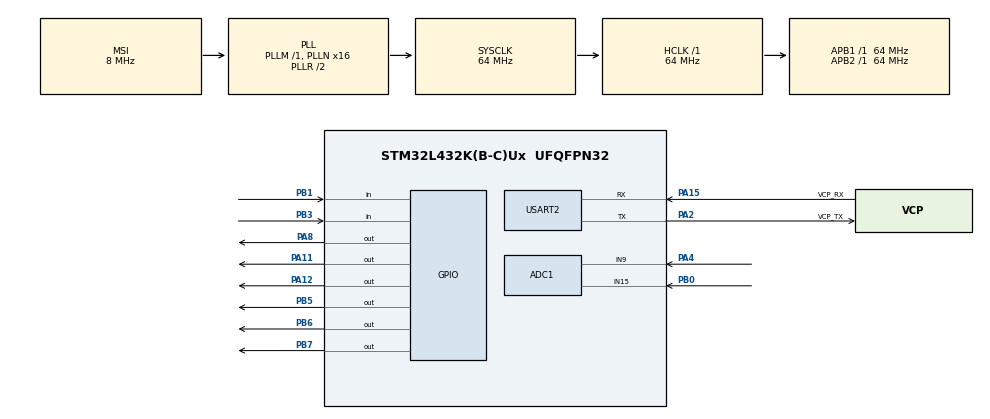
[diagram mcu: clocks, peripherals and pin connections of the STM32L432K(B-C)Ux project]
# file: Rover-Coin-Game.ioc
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ADC1.Channel-0\#ChannelRegularConversion=ADC_CHANNEL_9
ADC1.Channel-1\#ChannelRegularConversion=ADC_CHANNEL_15
ADC1.ClockPrescaler=ADC_CLOCK_ASYNC_DIV1
ADC1.DiscontinuousConvMode=DISABLE
ADC1.EOCSelection=ADC_EOC_SEQ_CONV
ADC1.NbrOfConversion=2
ADC1.NbrOfConversionFlag=1
ADC1.OffsetNumber-0\#ChannelRegularConversion=ADC_OFFSET_NONE
ADC1.OffsetNumber-1\#ChannelRegularConversion=ADC_OFFSET_NONE
ADC1.Overrun=ADC_OVR_DATA_PRESERVED
ADC1.Rank-0\#ChannelRegularConversion=1
ADC1.Rank-1\#ChannelRegularConversion=2
ADC1.SamplingTime-0\#ChannelRegularConversion=ADC_SAMPLETIME_47CYCLES_5
ADC1.SamplingTime-1\#ChannelRegularConversion=ADC_SAMPLETIME_47CYCLES_5
ADC1.master=1
Dma.ADC1.0.Direction=DMA_PERIPH_TO_MEMORY
Dma.ADC1.0.Instance=DMA1_Channel1
Dma.ADC1.0.MemDataAlignment=DMA_MDATAALIGN_WORD
Dma.ADC1.0.MemInc=DMA_MINC_ENABLE
Dma.ADC1.0.Mode=DMA_NORMAL
Dma.ADC1.0.PeriphDataAlignment=DMA_PDATAALIGN_HALFWORD
Dma.ADC1.0.PeriphInc=DMA_PINC_DISABLE
Dma.ADC1.0.Priority=DMA_PRIORITY_LOW
Dma.Request0=ADC1
Mcu.Family=STM32L4
Mcu.Name=STM32L432K(B-C)Ux
Mcu.Package=UFQFPN32
NVIC.DMA1_Channel1_IRQn=true\:0\:0\:false\:false\:true\:false\:true\:true
NVIC.PriorityGroup=NVIC_PRIORITYGROUP_4
PA0.GPIO_Label=MCO [High speed clock in]
PA0.Mode=HSE-External-Clock-Source-for-LittleOrca
PA0.Signal=RCC_CK_IN
PA11.Signal=GPIO_Output
PA12.Signal=GPIO_Output
PA13\ (JTMS-SWDIO).GPIO_Label=SWDIO
PA13\ (JTMS-SWDIO).Mode=Serial_Wire
PA13\ (JTMS-SWDIO).Signal=SYS_JTMS-SWDIO
PA14\ (JTCK-SWCLK).GPIO_Label=SWCLK
PA14\ (JTCK-SWCLK).Mode=Serial_Wire
PA14\ (JTCK-SWCLK).Signal=SYS_JTCK-SWCLK
PA15\ (JTDI).GPIO_Label=VCP_RX
PA15\ (JTDI).Mode=Asynchronous
PA15\ (JTDI).Signal=USART2_RX
PA2.GPIO_Label=VCP_TX
PA2.Mode=Asynchronous
PA2.Signal=USART2_TX
PA4.Signal=ADCx_IN9
PA8.Signal=GPIO_Output
PB0.Signal=ADCx_IN15
PB1.Signal=GPIO_Input
PB3\ (JTDO-TRACESWO).Signal=GPIO_Input
PB5.Signal=GPIO_Output
PB6.Signal=GPIO_Output
PB7.Signal=GPIO_Output
PC14-OSC32_IN\ (PC14).Mode=LSE-External-Oscillator
PC14-OSC32_IN\ (PC14).Signal=RCC_OSC32_IN
PC15-OSC32_OUT\ (PC15).Mode=LSE-External-Oscillator
PC15-OSC32_OUT\ (PC15).Signal=RCC_OSC32_OUT
ProjectManager.HeapSize=0x200
ProjectManager.StackSize=0x400
ProjectManager.TargetToolchain=EWARM V8.32
RCC.ADCFreq_Value=32000000
RCC.AHBFreq_Value=64000000
RCC.APB1Freq_Value=64000000
RCC.APB1TimFreq_Value=64000000
RCC.APB2Freq_Value=64000000
RCC.APB2TimFreq_Value=64000000
RCC.CortexFreq_Value=64000000
RCC.HCLKFreq_Value=64000000
RCC.HSE_VALUE=8000000
RCC.HSI16_VALUE=16000000
RCC.HSI48_VALUE=48000000
RCC.HSI_VALUE=16000000
RCC.MSIClockRange=RCC_MSIRANGE_7
RCC.MSI_VALUE=8000000
RCC.PLLMUL=RCC_PLLMUL_4
RCC.PLLN=16
RCC.SYSCLKFreq_VALUE=64000000
RCC.SYSCLKSource=RCC_SYSCLKSOURCE_PLLCLK
RCC.USBFreq_Value=32000000
RCC.VCOOutputFreq_Value=128000000
SH.ADCx_IN15.0=ADC1_IN15,IN15-Single-Ended
SH.ADCx_IN9.0=ADC1_IN9,IN9-Single-Ended
USART2.VirtualMode-Asynchronous=VM_ASYNC
board=NUCLEO-L432KC

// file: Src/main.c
/* USER CODE BEGIN Header */
/**
  ******************************************************************************
  * @file           : main.c
  * @brief          : Main program body
  ******************************************************************************
  * @attention
  *
  * <h2><center>&copy; Copyright (c) 2023 STMicroelectronics.
  * All rights reserved.</center></h2>
  *
  * This software component is licensed by ST under BSD 3-Clause license,
  * the "License"; You may not use this file except in compliance with the
  * License. You may obtain a copy of the License at:
  *                        opensource.org/licenses/BSD-3-Clause
  *
  ******************************************************************************
  */
/* USER CODE END Header */
#include "main.h"

/* USER CODE BEGIN Includes */
#include "displayST7735.h"
#include "rover_game.h"
#include "joystick.h"
#include "rover_math.h"
#include "EEPROM.h"
#include "stm32l4xx_spi.h"
/* USER CODE END Includes */

ADC_HandleTypeDef hadc1;
DMA_HandleTypeDef hdma_adc1;

UART_HandleTypeDef huart2;

/* USER CODE BEGIN PV */
//SPI
SPI_HandleData spi1Handle = {GPIOA, 1, 7, 5, 5, 1};

//Timing Flags
extern uint8_t flag3MsPassed;
extern uint8_t flag10MsPassed;
extern uint8_t flag25MsPassed;
extern uint8_t flag100MsPassed;
extern uint8_t flag500MsPassed;
extern uint8_t flag1000MsPassed;

uint8_t ledStatus = false;
//Random Num
uint32_t ranNum = 0;

//Display Testing

uint8_t setDisplay = false;

uint8_t colStart = 0;
uint8_t colEnd = 127;
uint8_t rowStart = 0;
uint8_t rowEnd = 159;

uint8_t prevPlace[2] = {0,0};
uint8_t width = 128;
uint8_t height = 160;
uint32_t rgbColor32 = 0xFCFCFC;

uint16_t angle = 0;
uint16_t objType = 0;

uint8_t line1[10] = {0,0,10,160,76,2,5,1,56,19};

uint8_t rgbColor[3] = {0,0,0};
extern uint32_t carRectColor[144];
extern uint32_t spiderRectColor[150];
//Test timing
extern uint16_t timeDisplayMS;
extern uint8_t runningTrue;
uint16_t timeDisp = 0;
uint32_t timeElasped[10];
uint8_t timeCntr = 0;
uint8_t iterCntr = 0;
uint32_t timeHolder = 0;

extern uint8_t adcFlag;

uint16_t joyAngle=0;
uint16_t joyMag=0;

//Display Objects:
Obj_Disp obj1 = {0,0,0,0,0,0,0,0,0,0,0,0,0,0};

/* USER CODE END PV */

void SystemClock_Config(void);
static void MX_GPIO_Init(void);
static void MX_DMA_Init(void);
static void MX_USART2_UART_Init(void);
static void MX_ADC1_Init(void);
/* USER CODE BEGIN PFP */

void initRNG();//RNG

void testObject(uint16_t angle, ObjectDispType objType);
uint32_t returnAnalog(uint8_t pin);

//Rover Game:
extern void RunRoverGame();

/* USER CODE END PFP */

int main(void)
{

  /* MCU Configuration--------------------------------------------------------*/

  /* Reset of all peripherals, Initializes the Flash interface and the Systick. */
  HAL_Init();

  /* Configure the system clock */
  SystemClock_Config();

  /* Initialize all configured peripherals */
  MX_GPIO_Init();
  MX_DMA_Init();
  MX_USART2_UART_Init();
  MX_ADC1_Init();
  /* USER CODE BEGIN 2 */
  //Init SPI
  Initialize_SPI(&spi1Handle);

  //Turn off reset pin
  HAL_GPIO_WritePin(RST_PIN,GPIO_PIN_SET);
  initDisplay();
  initADC();

  InitializeObjDisp(6);
  //Initialize RNG:
  initRNG();
  InitEEPROM();

  /* USER CODE END 2 */

  /* Infinite loop */
  /* USER CODE BEGIN WHILE */
  while (1){

    if(flag3MsPassed){
      flag3MsPassed=false;
      //Every 3 ms Task:

    }
    if(flag10MsPassed){
      flag10MsPassed=false;
      //Every 10 ms Task:
      timeHolder= HAL_GetTick();
      RunRoverGame();
      timeElasped[timeCntr] = MAX(HAL_GetTick()-timeHolder, timeElasped[timeCntr]);
      INCRE_CIRC_COUNTER(timeCntr, 10);

    }
    if(flag25MsPassed){

      flag25MsPassed=false;
      //Every 25 ms Task:
    }

    if(flag100MsPassed){
      flag100MsPassed=false;

      //Every 100 ms Task:

    }
    if(flag500MsPassed){
      flag500MsPassed=false;
      //Every 500 ms Task:

    }
    if(flag1000MsPassed){
      flag1000MsPassed=false;
      //Every 1000 ms Task:
    }

    if(setDisplay){
      timeDisplayMS=0;
      runningTrue=true;
      setDisplay=false;
      for(uint16_t i = 0; i<20;i++){

        //Test
      }
      timeDisp = timeDisplayMS;
      runningTrue=false;
    }
    /* USER CODE END WHILE */

  }
}

void SystemClock_Config(void)
{
  RCC_OscInitTypeDef RCC_OscInitStruct = {0};
  RCC_ClkInitTypeDef RCC_ClkInitStruct = {0};

  /** Configure the main internal regulator output voltage
  */
  if (HAL_PWREx_ControlVoltageScaling(PWR_REGULATOR_VOLTAGE_SCALE1) != HAL_OK)
  {
    Error_Handler();
  }

  /** Configure LSE Drive Capability
  */
  HAL_PWR_EnableBkUpAccess();
  __HAL_RCC_LSEDRIVE_CONFIG(RCC_LSEDRIVE_LOW);

  /** Initializes the RCC Oscillators according to the specified parameters
  * in the RCC_OscInitTypeDef structure.
  */
  RCC_OscInitStruct.OscillatorType = RCC_OSCILLATORTYPE_LSE|RCC_OSCILLATORTYPE_MSI;
  RCC_OscInitStruct.LSEState = RCC_LSE_ON;
  RCC_OscInitStruct.MSIState = RCC_MSI_ON;
  RCC_OscInitStruct.MSICalibrationValue = 0;
  RCC_OscInitStruct.MSIClockRange = RCC_MSIRANGE_7;
  RCC_OscInitStruct.PLL.PLLState = RCC_PLL_ON;
  RCC_OscInitStruct.PLL.PLLSource = RCC_PLLSOURCE_MSI;
  RCC_OscInitStruct.PLL.PLLM = 1;
  RCC_OscInitStruct.PLL.PLLN = 16;
  RCC_OscInitStruct.PLL.PLLP = RCC_PLLP_DIV7;
  RCC_OscInitStruct.PLL.PLLQ = RCC_PLLQ_DIV2;
  RCC_OscInitStruct.PLL.PLLR = RCC_PLLR_DIV2;
  if (HAL_RCC_OscConfig(&RCC_OscInitStruct) != HAL_OK)
  {
    Error_Handler();
  }

  /** Initializes the CPU, AHB and APB buses clocks
  */
  RCC_ClkInitStruct.ClockType = RCC_CLOCKTYPE_HCLK|RCC_CLOCKTYPE_SYSCLK
                              |RCC_CLOCKTYPE_PCLK1|RCC_CLOCKTYPE_PCLK2;
  RCC_ClkInitStruct.SYSCLKSource = RCC_SYSCLKSOURCE_PLLCLK;
  RCC_ClkInitStruct.AHBCLKDivider = RCC_SYSCLK_DIV1;
  RCC_ClkInitStruct.APB1CLKDivider = RCC_HCLK_DIV1;
  RCC_ClkInitStruct.APB2CLKDivider = RCC_HCLK_DIV1;

  if (HAL_RCC_ClockConfig(&RCC_ClkInitStruct, FLASH_LATENCY_3) != HAL_OK)
  {
    Error_Handler();
  }

  /** Enable MSI Auto calibration
  */
  HAL_RCCEx_EnableMSIPLLMode();
}

static void MX_ADC1_Init(void)
{

  ADC_ChannelConfTypeDef sConfig = {0};

  /** Common config
  */
  hadc1.Instance = ADC1;
  hadc1.Init.ClockPrescaler = ADC_CLOCK_ASYNC_DIV1;
  hadc1.Init.Resolution = ADC_RESOLUTION_12B;
  hadc1.Init.DataAlign = ADC_DATAALIGN_RIGHT;
  hadc1.Init.ScanConvMode = ADC_SCAN_ENABLE;
  hadc1.Init.EOCSelection = ADC_EOC_SEQ_CONV;
  hadc1.Init.LowPowerAutoWait = DISABLE;
  hadc1.Init.ContinuousConvMode = DISABLE;
  hadc1.Init.NbrOfConversion = 2;
  hadc1.Init.DiscontinuousConvMode = DISABLE;
  hadc1.Init.ExternalTrigConv = ADC_SOFTWARE_START;
  hadc1.Init.ExternalTrigConvEdge = ADC_EXTERNALTRIGCONVEDGE_NONE;
  hadc1.Init.DMAContinuousRequests = DISABLE;
  hadc1.Init.Overrun = ADC_OVR_DATA_PRESERVED;
  hadc1.Init.OversamplingMode = DISABLE;
  if (HAL_ADC_Init(&hadc1) != HAL_OK)
  {
    Error_Handler();
  }

  /** Configure Regular Channel
  */
  sConfig.Channel = ADC_CHANNEL_9;
  sConfig.Rank = ADC_REGULAR_RANK_1;
  sConfig.SamplingTime = ADC_SAMPLETIME_47CYCLES_5;
  sConfig.SingleDiff = ADC_SINGLE_ENDED;
  sConfig.OffsetNumber = ADC_OFFSET_NONE;
  sConfig.Offset = 0;
  if (HAL_ADC_ConfigChannel(&hadc1, &sConfig) != HAL_OK)
  {
    Error_Handler();
  }

  /** Configure Regular Channel
  */
  sConfig.Channel = ADC_CHANNEL_15;
  sConfig.Rank = ADC_REGULAR_RANK_2;
  if (HAL_ADC_ConfigChannel(&hadc1, &sConfig) != HAL_OK)
  {
    Error_Handler();
  }

}

static void MX_USART2_UART_Init(void)
{

  huart2.Instance = USART2;
  huart2.Init.BaudRate = 115200;
  huart2.Init.WordLength = UART_WORDLENGTH_8B;
  huart2.Init.StopBits = UART_STOPBITS_1;
  huart2.Init.Parity = UART_PARITY_NONE;
  huart2.Init.Mode = UART_MODE_TX_RX;
  huart2.Init.HwFlowCtl = UART_HWCONTROL_NONE;
  huart2.Init.OverSampling = UART_OVERSAMPLING_16;
  huart2.Init.OneBitSampling = UART_ONE_BIT_SAMPLE_DISABLE;
  huart2.AdvancedInit.AdvFeatureInit = UART_ADVFEATURE_NO_INIT;
  if (HAL_UART_Init(&huart2) != HAL_OK)
  {
    Error_Handler();
  }

}

static void MX_DMA_Init(void)
{

  /* DMA controller clock enable */
  __HAL_RCC_DMA1_CLK_ENABLE();

  /* DMA interrupt init */
  /* DMA1_Channel1_IRQn interrupt configuration */
  HAL_NVIC_SetPriority(DMA1_Channel1_IRQn, 0, 0);
  HAL_NVIC_EnableIRQ(DMA1_Channel1_IRQn);

}

static void MX_GPIO_Init(void)
{
  GPIO_InitTypeDef GPIO_InitStruct = {0};

  /* GPIO Ports Clock Enable */
  __HAL_RCC_GPIOC_CLK_ENABLE();
  __HAL_RCC_GPIOA_CLK_ENABLE();
  __HAL_RCC_GPIOB_CLK_ENABLE();

  /*Configure GPIO pin Output Level */
  HAL_GPIO_WritePin(GPIOA, GPIO_PIN_8|GPIO_PIN_11|GPIO_PIN_12, GPIO_PIN_RESET);

  /*Configure GPIO pin Output Level */
  HAL_GPIO_WritePin(GPIOB, GPIO_PIN_5|GPIO_PIN_6|GPIO_PIN_7, GPIO_PIN_RESET);

  /*Configure GPIO pins : PB1 PB3 */
  GPIO_InitStruct.Pin = GPIO_PIN_1|GPIO_PIN_3;
  GPIO_InitStruct.Mode = GPIO_MODE_INPUT;
  GPIO_InitStruct.Pull = GPIO_NOPULL;
  HAL_GPIO_Init(GPIOB, &GPIO_InitStruct);

  /*Configure GPIO pins : PA8 PA11 PA12 */
  GPIO_InitStruct.Pin = GPIO_PIN_8|GPIO_PIN_11|GPIO_PIN_12;
  GPIO_InitStruct.Mode = GPIO_MODE_OUTPUT_PP;
  GPIO_InitStruct.Pull = GPIO_NOPULL;
  GPIO_InitStruct.Speed = GPIO_SPEED_FREQ_LOW;
  HAL_GPIO_Init(GPIOA, &GPIO_InitStruct);

  /*Configure GPIO pins : PB5 PB6 PB7 */
  GPIO_InitStruct.Pin = GPIO_PIN_5|GPIO_PIN_6|GPIO_PIN_7;
  GPIO_InitStruct.Mode = GPIO_MODE_OUTPUT_PP;
  GPIO_InitStruct.Pull = GPIO_NOPULL;
  GPIO_InitStruct.Speed = GPIO_SPEED_FREQ_LOW;
  HAL_GPIO_Init(GPIOB, &GPIO_InitStruct);

}

/* USER CODE BEGIN 4 */
void initRNG(){
  //Reset RNG:
  RCC->AHB2RSTR|=0x1<<18;
  RCC->AHB2RSTR&=~(0x1<<18);

  //Enable PLL48M2 Clock:
  RCC->PLLSAI1CFGR|=0x1<<20;

  //Select PLL48M2 Clock as clock source for CLK48 (RNG)
  RCC->CCIPR&=~(0x3<<26);
  RCC->CCIPR|=(0x3<<26);
  //Enable RNG Clock:
  RCC->AHB2ENR|=0x1<<18;
  RCC->AHB2SMENR|=0x1<<18; //Enable clock even in sleep/stop mode

  HAL_Delay(2);//Wait to access RNG again
  //Enable Clock detection, diable interrupt and RNG
  RNG->CR&=~(0x2C);
}

void testObject(uint16_t angle, ObjectDispType objType){
  obj1.angle=angle;
//  obj1.objType =objType;
//  obj1.active=true;
//  allObjects[0]=obj1;
//
//  InitializeObjDisp(1);
//  SetObjectColor(objPixelSpace, &allObjects[0]);
//  uint8_t x = 5;//leftTopCorner[0];
//  uint8_t y = 1;//leftTopCorner[1];
//  setColumnRowRange(x,x+allObjects[0].width-1,y ,y+allObjects[0].height-1);
//  writeColorArray(objPixelSpace,allObjects[0].width*allObjects[0].height);

//  printMatrix(objPixelSpace,obj1.height,obj1.width);

}

uint32_t returnAnalog(uint8_t pin){
//  ADC_ChannelConfTypeDef sConfig = {0};
//  sConfig.Channel = ADC_CHANNEL_9*pin+(pin==0)*ADC_CHANNEL_10;
//  sConfig.Rank = ADC_REGULAR_RANK_1;
//  sConfig.SamplingTime = ADC_SAMPLETIME_2CYCLES_5;
//  sConfig.SingleDiff = ADC_SINGLE_ENDED;
//  sConfig.OffsetNumber = ADC_OFFSET_NONE;
//  sConfig.Offset = 0;
//  if (HAL_ADC_ConfigChannel(&hadc1, &sConfig) != HAL_OK){
//    Error_Handler();
//  }
  HAL_ADC_Start(&hadc1);
  HAL_ADC_PollForConversion(&hadc1, 1000);
  HAL_ADC_PollForConversion(&hadc1, 1000);

  return HAL_ADC_GetValue(&hadc1);
}

/* USER CODE END 4 */

void Error_Handler(void)
{
  /* USER CODE BEGIN Error_Handler_Debug */
  /* User can add his own implementation to report the HAL error return state */
  timeDisp=10;
  /* USER CODE END Error_Handler_Debug */
}
